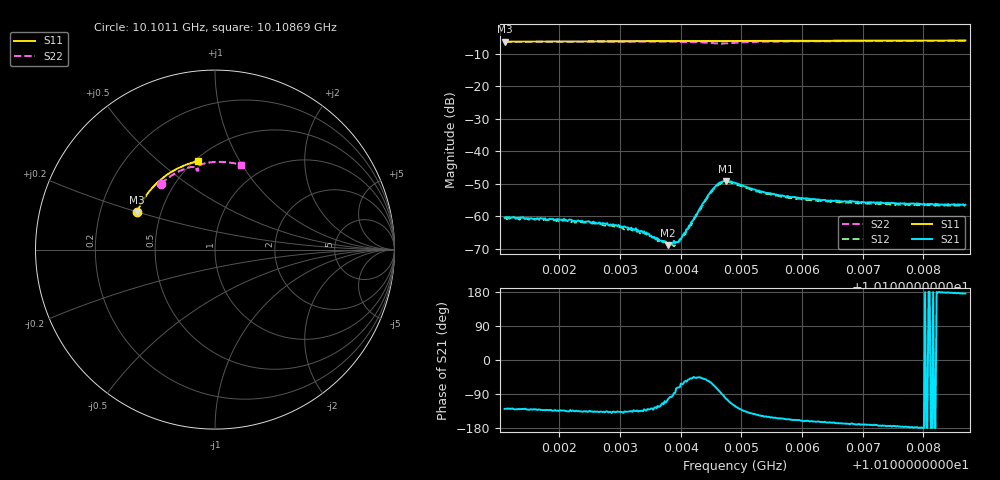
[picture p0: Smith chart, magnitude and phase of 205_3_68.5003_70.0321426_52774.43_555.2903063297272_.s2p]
#  HZ  S  RI  R  50.00
! Rohde & Schwarz Vector Network Analyzer
! Rohde-Schwarz,ZNB20-2Port,1311601062101988,3.16
! Created: UTC 3/20/2024, 4:57:48 PM
! freq[Hz]  re:S11  im:S11  re:S21  im:S21  re:S12  im:S12  re:S22  im:S22
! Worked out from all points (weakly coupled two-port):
!   401 points, 10.1011 GHz to 10.10869 GHz, reference 50 ohm
!   highest |S21| = -49.12 dB at 10.10474 GHz (marker M1); lowest = -68.9 dB at 10.10379 GHz (marker M2)
!   lowest |S11| = -6.3 dB at 10.1011 GHz (marker M3), VSWR 2.86, Z = 18.3 + j9.95 ohm
!   |S11| at or under -10 dB: nowhere
!   |S22| runs from -6.9 to -6.1 dB; largest |S21 - S12| = 0.00036
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1.0101097e10  -0.4346 0.209  -0.000596 -0.000736  -0.000526 -0.000788  -0.3009 0.3673
1.0101724e10  -0.4186 0.2436  -0.000614 -0.000689  -0.000508 -0.000712  -0.2695 0.3931
1.010237e10  -0.3991 0.2779  -0.000618 -0.00059  -0.000525 -0.000608  -0.2346 0.417
1.0102826e10  -0.3837 0.3009  -0.000533 -0.000498  -0.000486 -0.00052  -0.2086 0.432
1.0103224e10  -0.3693 0.3203  -0.000431 -0.000469  -0.000374 -0.000441  -0.1845 0.4436
1.0103433e10  -0.3613 0.3302  -0.000392 -0.000409  -0.000328 -0.000417  -0.1711 0.449
1.0103642e10  -0.3532 0.3399  -0.000234 -0.000351  -0.000187 -0.000369  -0.1574 0.4541
1.0103794e10  -0.3469 0.3467  -7.68e-05 -0.00035  -6.05e-05 -0.000374  -0.1465 0.4573
1.010387e10  -0.3438 0.3502  -2.27e-05 -0.000389  1.69e-05 -0.00036  -0.1411 0.4585
1.0103946e10  -0.3406 0.3535  0.000117 -0.000383  0.000151 -0.000373  -0.1354 0.4596
1.0104003e10  -0.3383 0.356  0.000209 -0.000394  0.000197 -0.000405  -0.1309 0.4605
1.0104155e10  -0.3317 0.3626  0.00048 -0.000547  0.000512 -0.000499  -0.1185 0.4614
1.0104383e10  -0.3219 0.3722  0.00105 -0.00126  0.00115 -0.00111  -0.0996 0.4563
1.0104497e10  -0.3167 0.3769  0.00123 -0.00207  0.00132 -0.00188  -0.0931 0.4489
1.010463e10  -0.3108 0.3821  0.000519 -0.00317  0.000751 -0.00297  -0.0947 0.4399
1.0104744e10  -0.3057 0.3865  -0.000697 -0.00343  -0.000367 -0.00334  -0.1014 0.4412
1.0104896e10  -0.2988 0.3927  -0.00169 -0.00279  -0.00143 -0.00281  -0.1027 0.4525
1.0105408e10  -0.2743 0.4117  -0.00194 -0.00118  -0.00179 -0.0013  -0.07 0.4765
1.010575e10  -0.2573 0.4236  -0.00186 -0.000812  -0.0017 -0.000937  -0.0461 0.4827
1.0106168e10  -0.2358 0.437  -0.00173 -0.000569  -0.00162 -0.000703  -0.0179 0.4868
1.010744e10  -0.1667 0.4706  -0.00158 -0.00015  -0.00149 -0.000315  0.0654 0.4867
1.0108694e10  -0.094 0.4927  -0.0015 0.000119  -0.00146 -2.91e-05  0.1446 0.4722
